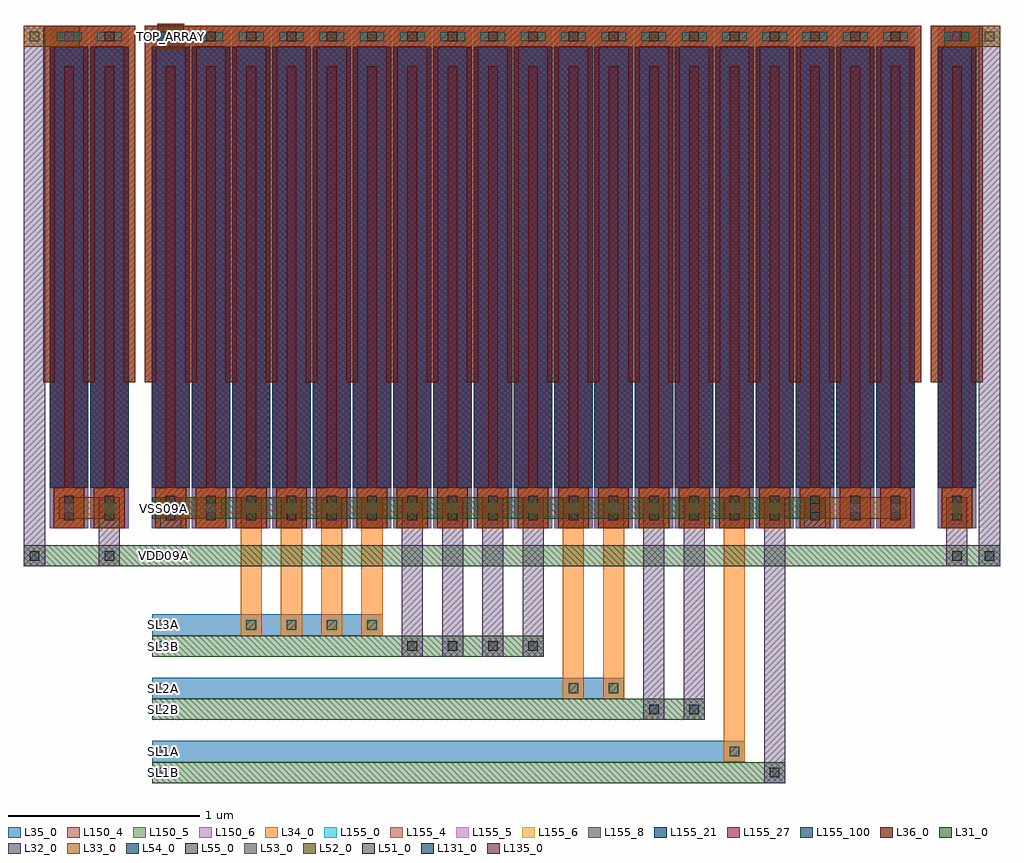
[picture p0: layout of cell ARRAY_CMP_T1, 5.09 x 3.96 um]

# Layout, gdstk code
from math import pi, radians
import gdstk
lib = gdstk.Library(unit=1e-6, precision=1e-09)
def R(c, l, rs):  # rectangles x0, y0, x1, y1
    for r in rs: c.add(gdstk.rectangle(r[:2], r[2:], *l))
def A(c, l, x, y, w, h, nx, ny, dx, dy):  # array of equal rectangles
    R(c, l, [(x+i*dx, y+j*dy, x+i*dx+w, y+j*dy+h) for i in range(nx) for j in range(ny)])
L31_0 = (31, 0)
L32_0 = (32, 0)
L33_0 = (33, 0)
L34_0 = (34, 0)
L35_0 = (35, 0)
L36_0 = (36, 0)
L51_0 = (51, 0)
L52_0 = (52, 0)
L53_0 = (53, 0)
L54_0 = (54, 0)
L55_0 = (55, 0)
L131_0 = (131, 0)
L135_0 = (135, 0)
L150_4 = (150, 4)
L150_5 = (150, 5)
L150_6 = (150, 6)
L155_0 = (155, 0)
L155_4 = (155, 4)
L155_5 = (155, 5)
L155_6 = (155, 6)
L155_8 = (155, 8)
L155_21 = (155, 21)
L155_27 = (155, 27)
L155_100 = (155, 100)

m5_m4_cdns_614919717727 = lib.new_cell('M5_M4_CDNS_614919717727')
R(m5_m4_cdns_614919717727, L34_0, [(-0.07,-0.105,0.07,0.105)])
R(m5_m4_cdns_614919717727, L35_0, [(-0.07,-0.105,0.07,0.105)])
R(m5_m4_cdns_614919717727, L54_0, [(-0.025,-0.065,0.025,0.065)])

m6_m5_cdns_614919717728 = lib.new_cell('M6_M5_CDNS_614919717728')
R(m6_m5_cdns_614919717728, L35_0, [(-0.07,-0.105,0.07,0.105)])
R(m6_m5_cdns_614919717728, L36_0, [(-0.055,-0.105,0.055,0.105)])
R(m6_m5_cdns_614919717728, L55_0, [(-0.025,-0.065,0.025,0.065)])

m5_m4_cdns_614919717729 = lib.new_cell('M5_M4_CDNS_614919717729')
R(m5_m4_cdns_614919717729, L34_0, [(-0.095,-0.055,0.095,0.055)])
R(m5_m4_cdns_614919717729, L35_0, [(-0.12,-0.055,0.12,0.055)])
R(m5_m4_cdns_614919717729, L54_0, [(-0.065,-0.025,0.065,0.025)])

m6_m5_cdns_6149197177210 = lib.new_cell('M6_M5_CDNS_6149197177210')
R(m6_m5_cdns_6149197177210, L35_0, [(-0.055,-0.055,0.055,0.055)])
R(m6_m5_cdns_6149197177210, L36_0, [(-0.055,-0.055,0.055,0.055)])
R(m6_m5_cdns_6149197177210, L55_0, [(-0.025,-0.025,0.025,0.025)])

cu1f = lib.new_cell('CU1F')
R(cu1f, L34_0, [(0.02,0,0.18,0.21), (-0.035,2.51,0.235,2.62)])
R(cu1f, L35_0, [(0.02,0,0.18,0.21), (-0.035,2.51,0.235,2.62)])
R(cu1f, L36_0, [(0.02,0,0.18,0.21), (-0.035,2.51,0.235,2.62)])
R(cu1f, L150_4, [(0,0,0.2,2.62)])
R(cu1f, L150_5, [(0,0,0.2,2.62)])
R(cu1f, L150_6, [(0,0,0.2,2.62)])
R(cu1f, L155_0, [(0,0.21,0.2,2.51)])
R(cu1f, L155_4, [(0,0.21,0.2,2.51)])
R(cu1f, L155_5, [(0,0.21,0.2,2.51)])
R(cu1f, L155_6, [(0,0.21,0.2,2.51)])
R(cu1f, L155_8, [(0,0.21,0.2,2.51)])
R(cu1f, L155_21, [(0,0.21,0.2,2.51)])
R(cu1f, L155_27, [(0,0.21,0.2,2.51)])
R(cu1f, L155_100, [(0,0.21,0.2,2.51)])
cu1f.add(gdstk.FlexPath([(0.205,2.59),(0.205,0.76)], 0.06, ends=(0.03, 0), simple_path=True, layer=34, datatype=0))  # L34_0
cu1f.add(gdstk.FlexPath([(0.1,2.41),(0.1,0)], 0.05, ends="flush", simple_path=True, layer=34, datatype=0))  # L34_0
cu1f.add(gdstk.FlexPath([(-0.005,2.59),(-0.005,0.76)], 0.06, ends=(0.03, 0), simple_path=True, layer=34, datatype=0))  # L34_0
cu1f.add(gdstk.FlexPath([(0.205,0.76),(0.205,2.59)], 0.06, ends=(0, 0.03), simple_path=True, layer=35, datatype=0))  # L35_0
cu1f.add(gdstk.FlexPath([(0.1,2.41),(0.1,0)], 0.05, ends="flush", simple_path=True, layer=35, datatype=0))  # L35_0
cu1f.add(gdstk.FlexPath([(-0.005,0.76),(-0.005,2.59)], 0.06, ends=(0, 0.03), simple_path=True, layer=35, datatype=0))  # L35_0
cu1f.add(gdstk.FlexPath([(0.205,0.76),(0.205,2.59)], 0.06, ends=(0, 0.03), simple_path=True, layer=36, datatype=0))  # L36_0
cu1f.add(gdstk.FlexPath([(0.1,2.41),(0.1,0)], 0.05, ends="flush", simple_path=True, layer=36, datatype=0))  # L36_0
cu1f.add(gdstk.FlexPath([(-0.005,0.76),(-0.005,2.59)], 0.06, ends=(0, 0.03), simple_path=True, layer=36, datatype=0))  # L36_0
cu1f.add(gdstk.Reference(m5_m4_cdns_614919717727, (0.1,0.105), rotation=pi, x_reflection=True))
cu1f.add(gdstk.Reference(m6_m5_cdns_614919717728, (0.1,0.105), rotation=pi, x_reflection=True))
cu1f.add(gdstk.Reference(m5_m4_cdns_614919717729, (0.1,2.565)))
cu1f.add(gdstk.Reference(m6_m5_cdns_6149197177210, (0.1,2.565)))

m2_m1_cdns_614919717720 = lib.new_cell('M2_M1_CDNS_614919717720')
R(m2_m1_cdns_614919717720, L31_0, [(-0.055,-0.055,0.055,0.055)])
R(m2_m1_cdns_614919717720, L32_0, [(-0.055,-0.055,0.055,0.055)])
R(m2_m1_cdns_614919717720, L51_0, [(-0.025,-0.025,0.025,0.025)])

m3_m2_cdns_614919717721 = lib.new_cell('M3_M2_CDNS_614919717721')
R(m3_m2_cdns_614919717721, L32_0, [(-0.055,-0.055,0.055,0.055)])
R(m3_m2_cdns_614919717721, L33_0, [(-0.055,-0.055,0.055,0.055)])
R(m3_m2_cdns_614919717721, L52_0, [(-0.025,-0.025,0.025,0.025)])

m4_m3_cdns_614919717722 = lib.new_cell('M4_M3_CDNS_614919717722')
R(m4_m3_cdns_614919717722, L33_0, [(-0.055,-0.055,0.055,0.055)])
R(m4_m3_cdns_614919717722, L34_0, [(-0.055,-0.055,0.055,0.055)])
R(m4_m3_cdns_614919717722, L53_0, [(-0.025,-0.025,0.025,0.025)])

m4_m3_cdns_614919717723 = lib.new_cell('M4_M3_CDNS_614919717723')
R(m4_m3_cdns_614919717723, L33_0, [(-0.07,-0.065,0.07,0.065)])
R(m4_m3_cdns_614919717723, L34_0, [(-0.055,-0.055,0.055,0.055)])
R(m4_m3_cdns_614919717723, L53_0, [(-0.025,-0.025,0.025,0.025)])

m3_m2_cdns_614919717724 = lib.new_cell('M3_M2_CDNS_614919717724')
R(m3_m2_cdns_614919717724, L32_0, [(-0.065,-0.06,0.065,0.06)])
R(m3_m2_cdns_614919717724, L33_0, [(-0.07,-0.065,0.07,0.065)])
R(m3_m2_cdns_614919717724, L52_0, [(-0.025,-0.025,0.025,0.025)])

m2_m1_cdns_614919717725 = lib.new_cell('M2_M1_CDNS_614919717725')
R(m2_m1_cdns_614919717725, L31_0, [(-0.055,-0.055,0.055,0.055)])
R(m2_m1_cdns_614919717725, L32_0, [(-0.065,-0.06,0.065,0.06)])
R(m2_m1_cdns_614919717725, L51_0, [(-0.025,-0.025,0.025,0.025)])

m5_m4_cdns_614919717726 = lib.new_cell('M5_M4_CDNS_614919717726')
R(m5_m4_cdns_614919717726, L34_0, [(-0.055,-0.055,0.055,0.055)])
R(m5_m4_cdns_614919717726, L35_0, [(-0.055,-0.055,0.055,0.055)])
R(m5_m4_cdns_614919717726, L54_0, [(-0.025,-0.025,0.025,0.025)])

array_cmp_t1 = lib.new_cell('ARRAY_CMP_T1')
R(array_cmp_t1, L31_0, [(0.535,-1.33,3.835,-1.22), (0.535,-1,3.415,-0.89), (0.535,-0.67,2.575,-0.56), (-0.135,-0.2,4.955,-0.09), (0.535,0.05,4.045,0.16), (0.56,2.5,0.7,2.63)])
A(array_cmp_t1, L32_0, 1.835, -0.67, 0.11, 0.83, 4, 1, 0.21, 0)
R(array_cmp_t1, L32_0, [(3.725,-1.33,3.835,0.16), (3.095,-1,3.205,0.16), (3.305,-1,3.415,0.16), (-0.135,-0.2,-0.025,2.62), (0.255,-0.2,0.365,0.16), (4.675,-0.2,4.785,0.16), (4.845,-0.2,4.955,2.62), (0.575,0,0.685,0.16), (3.935,0,4.045,0.16)])
A(array_cmp_t1, L33_0, 0.995, 0, 0.11, 0.16, 14, 1, 0.21, 0)
R(array_cmp_t1, L33_0, [(4.675,0,4.785,0.16), (0.045,0.05,0.365,0.16), (0.575,0.05,0.895,0.16), (3.935,0.05,4.465,0.16), (-0.135,2.51,0.155,2.62), (4.665,2.51,4.955,2.62)])
A(array_cmp_t1, L34_0, 0.995, -0.56, 0.11, 0.72, 4, 1, 0.21, 0)
R(array_cmp_t1, L34_0, [(3.515,-1.22,3.625,0.16), (2.675,-0.89,2.785,0.16), (2.885,-0.89,2.995,0.16)])
R(array_cmp_t1, L35_0, [(0.535,-1.22,3.625,-1.11), (0.535,-0.89,2.995,-0.78), (0.535,-0.56,1.735,-0.45)])
A(array_cmp_t1, L131_0, 0.565, -1.3, 0.05, 0.05, 1, 3, 0, 0.33)
R(array_cmp_t1, L131_0, [(0.565,-0.17,0.615,-0.12), (0.565,0.08,0.615,0.13), (0.605,2.54,0.655,2.59)])
A(array_cmp_t1, L135_0, 0.565, -1.19, 0.05, 0.05, 1, 3, 0, 0.33)
array_cmp_t1.add(gdstk.Reference(cu1f, (0,0)))
array_cmp_t1.add(gdstk.Reference(cu1f, (0.21,0)))
array_cmp_t1.add(gdstk.Reference(cu1f, (0.53,0)))
array_cmp_t1.add(gdstk.Reference(cu1f, (0.74,0)))
array_cmp_t1.add(gdstk.Reference(cu1f, (4.63,0)))
array_cmp_t1.add(gdstk.Reference(cu1f, (4.31,0)))
array_cmp_t1.add(gdstk.Reference(cu1f, (4.1,0)))
array_cmp_t1.add(gdstk.Reference(cu1f, (3.89,0)))
array_cmp_t1.add(gdstk.Reference(cu1f, (3.68,0)))
array_cmp_t1.add(gdstk.Reference(cu1f, (3.47,0)))
array_cmp_t1.add(gdstk.Reference(cu1f, (3.26,0)))
array_cmp_t1.add(gdstk.Reference(cu1f, (3.05,0)))
array_cmp_t1.add(gdstk.Reference(cu1f, (2.84,0)))
array_cmp_t1.add(gdstk.Reference(cu1f, (2.63,0)))
array_cmp_t1.add(gdstk.Reference(cu1f, (2.42,0)))
array_cmp_t1.add(gdstk.Reference(cu1f, (2.21,0)))
array_cmp_t1.add(gdstk.Reference(cu1f, (2,0)))
array_cmp_t1.add(gdstk.Reference(cu1f, (1.79,0)))
array_cmp_t1.add(gdstk.Reference(cu1f, (1.58,0)))
array_cmp_t1.add(gdstk.Reference(cu1f, (1.37,0)))
array_cmp_t1.add(gdstk.Reference(cu1f, (1.16,0)))
array_cmp_t1.add(gdstk.Reference(cu1f, (0.95,0)))
array_cmp_t1.add(gdstk.Reference(m2_m1_cdns_614919717720, (2.52,-0.615)))
array_cmp_t1.add(gdstk.Reference(m2_m1_cdns_614919717720, (4.9,-0.145)))
array_cmp_t1.add(gdstk.Reference(m2_m1_cdns_614919717720, (-0.08,-0.145)))
array_cmp_t1.add(gdstk.Reference(m2_m1_cdns_614919717720, (3.99,0.105)))
array_cmp_t1.add(gdstk.Reference(m2_m1_cdns_614919717720, (4.73,-0.145)))
array_cmp_t1.add(gdstk.Reference(m2_m1_cdns_614919717720, (0.31,-0.145)))
array_cmp_t1.add(gdstk.Reference(m2_m1_cdns_614919717720, (2.31,-0.615)))
array_cmp_t1.add(gdstk.Reference(m2_m1_cdns_614919717720, (2.1,-0.615)))
array_cmp_t1.add(gdstk.Reference(m2_m1_cdns_614919717720, (3.78,-1.275)))
array_cmp_t1.add(gdstk.Reference(m2_m1_cdns_614919717720, (1.89,-0.615)))
array_cmp_t1.add(gdstk.Reference(m2_m1_cdns_614919717720, (3.15,-0.945)))
array_cmp_t1.add(gdstk.Reference(m2_m1_cdns_614919717720, (3.36,-0.945)))
array_cmp_t1.add(gdstk.Reference(m2_m1_cdns_614919717720, (0.63,0.105)))
array_cmp_t1.add(gdstk.Reference(m3_m2_cdns_614919717721, (4.9,2.565)))
array_cmp_t1.add(gdstk.Reference(m3_m2_cdns_614919717721, (-0.08,2.565)))
array_cmp_t1.add(gdstk.Reference(m3_m2_cdns_614919717721, (1.05,0.105)))
array_cmp_t1.add(gdstk.Reference(m3_m2_cdns_614919717721, (1.26,0.105)))
array_cmp_t1.add(gdstk.Reference(m3_m2_cdns_614919717721, (1.47,0.105)))
array_cmp_t1.add(gdstk.Reference(m3_m2_cdns_614919717721, (1.68,0.105)))
array_cmp_t1.add(gdstk.Reference(m3_m2_cdns_614919717721, (1.89,0.105)))
array_cmp_t1.add(gdstk.Reference(m3_m2_cdns_614919717721, (2.1,0.105)))
array_cmp_t1.add(gdstk.Reference(m3_m2_cdns_614919717721, (2.31,0.105)))
array_cmp_t1.add(gdstk.Reference(m3_m2_cdns_614919717721, (2.52,0.105)))
array_cmp_t1.add(gdstk.Reference(m3_m2_cdns_614919717721, (2.73,0.105)))
array_cmp_t1.add(gdstk.Reference(m3_m2_cdns_614919717721, (2.94,0.105)))
array_cmp_t1.add(gdstk.Reference(m3_m2_cdns_614919717721, (3.15,0.105)))
array_cmp_t1.add(gdstk.Reference(m3_m2_cdns_614919717721, (3.36,0.105)))
array_cmp_t1.add(gdstk.Reference(m3_m2_cdns_614919717721, (3.57,0.105)))
array_cmp_t1.add(gdstk.Reference(m3_m2_cdns_614919717721, (3.78,0.105)))
array_cmp_t1.add(gdstk.Reference(m3_m2_cdns_614919717721, (4.73,0.105)))
array_cmp_t1.add(gdstk.Reference(m3_m2_cdns_614919717721, (3.99,0.105)))
array_cmp_t1.add(gdstk.Reference(m3_m2_cdns_614919717721, (0.63,0.105)))
array_cmp_t1.add(gdstk.Reference(m3_m2_cdns_614919717721, (0.31,0.105)))
array_cmp_t1.add(gdstk.Reference(m4_m3_cdns_614919717722, (4.72,2.565), rotation=pi, x_reflection=True))
array_cmp_t1.add(gdstk.Reference(m4_m3_cdns_614919717722, (0.1,2.565)))
array_cmp_t1.add(gdstk.Reference(m4_m3_cdns_614919717722, (1.05,0.105)))
array_cmp_t1.add(gdstk.Reference(m4_m3_cdns_614919717722, (1.26,0.105)))
array_cmp_t1.add(gdstk.Reference(m4_m3_cdns_614919717722, (1.47,0.105)))
array_cmp_t1.add(gdstk.Reference(m4_m3_cdns_614919717722, (1.68,0.105)))
array_cmp_t1.add(gdstk.Reference(m4_m3_cdns_614919717722, (1.89,0.105)))
array_cmp_t1.add(gdstk.Reference(m4_m3_cdns_614919717722, (2.1,0.105)))
array_cmp_t1.add(gdstk.Reference(m4_m3_cdns_614919717722, (2.31,0.105)))
array_cmp_t1.add(gdstk.Reference(m4_m3_cdns_614919717722, (2.52,0.105)))
array_cmp_t1.add(gdstk.Reference(m4_m3_cdns_614919717722, (2.73,0.105)))
array_cmp_t1.add(gdstk.Reference(m4_m3_cdns_614919717722, (2.94,0.105)))
array_cmp_t1.add(gdstk.Reference(m4_m3_cdns_614919717722, (3.15,0.105)))
array_cmp_t1.add(gdstk.Reference(m4_m3_cdns_614919717722, (3.36,0.105)))
array_cmp_t1.add(gdstk.Reference(m4_m3_cdns_614919717722, (3.57,0.105)))
array_cmp_t1.add(gdstk.Reference(m4_m3_cdns_614919717722, (3.78,0.105)))
array_cmp_t1.add(gdstk.Reference(m4_m3_cdns_614919717722, (4.73,0.105)))
array_cmp_t1.add(gdstk.Reference(m4_m3_cdns_614919717722, (4.2,0.105)))
array_cmp_t1.add(gdstk.Reference(m4_m3_cdns_614919717722, (4.41,0.105)))
array_cmp_t1.add(gdstk.Reference(m4_m3_cdns_614919717722, (3.99,0.105)))
array_cmp_t1.add(gdstk.Reference(m4_m3_cdns_614919717722, (0.84,0.105)))
array_cmp_t1.add(gdstk.Reference(m4_m3_cdns_614919717722, (0.63,0.105)))
array_cmp_t1.add(gdstk.Reference(m4_m3_cdns_614919717722, (0.1,0.105)))
array_cmp_t1.add(gdstk.Reference(m4_m3_cdns_614919717722, (0.31,0.105)))
array_cmp_t1.add(gdstk.Reference(m4_m3_cdns_614919717723, (0.63,2.565)))
array_cmp_t1.add(gdstk.Reference(m3_m2_cdns_614919717724, (0.63,2.565)))
array_cmp_t1.add(gdstk.Reference(m2_m1_cdns_614919717725, (0.63,2.565)))
array_cmp_t1.add(gdstk.Reference(m5_m4_cdns_614919717726, (1.47,-0.505)))
array_cmp_t1.add(gdstk.Reference(m5_m4_cdns_614919717726, (2.94,-0.835)))
array_cmp_t1.add(gdstk.Reference(m5_m4_cdns_614919717726, (2.73,-0.835)))
array_cmp_t1.add(gdstk.Reference(m5_m4_cdns_614919717726, (1.26,-0.505)))
array_cmp_t1.add(gdstk.Reference(m5_m4_cdns_614919717726, (3.57,-1.165)))
array_cmp_t1.add(gdstk.Reference(m5_m4_cdns_614919717726, (1.68,-0.505)))
array_cmp_t1.add(gdstk.Reference(m5_m4_cdns_614919717726, (1.05,-0.505)))
array_cmp_t1.add(gdstk.Label('SL3A', (0.59,-0.505), layer=135, texttype=0))
array_cmp_t1.add(gdstk.Label('SL1A', (0.59,-1.165), layer=135, texttype=0))
array_cmp_t1.add(gdstk.Label('SL2A', (0.59,-0.835), layer=135, texttype=0))
array_cmp_t1.add(gdstk.Label('VDD09A', (0.59,-0.145), layer=131, texttype=0))
array_cmp_t1.add(gdstk.Label('SL3B', (0.59,-0.615), layer=131, texttype=0))
array_cmp_t1.add(gdstk.Label('VSS09A', (0.59,0.105), layer=131, texttype=0))
array_cmp_t1.add(gdstk.Label('SL1B', (0.59,-1.275), layer=131, texttype=0))
array_cmp_t1.add(gdstk.Label('SL2B', (0.59,-0.945), layer=131, texttype=0))
array_cmp_t1.add(gdstk.Label('TOP_ARRAY', (0.628,2.565), layer=131, texttype=0))

lib.write_gds('ARRAY_CMP_T1.gds')
